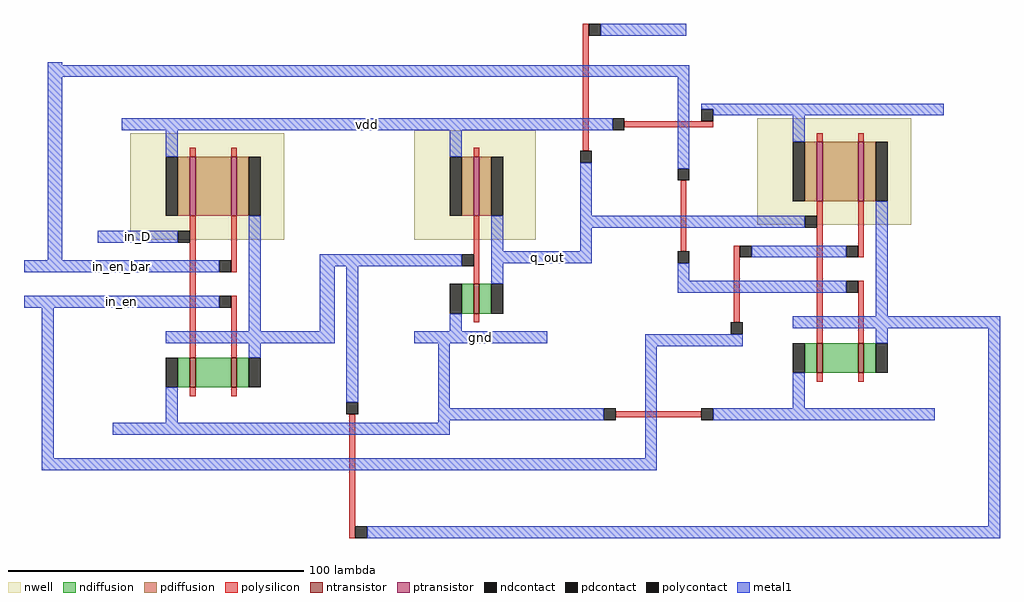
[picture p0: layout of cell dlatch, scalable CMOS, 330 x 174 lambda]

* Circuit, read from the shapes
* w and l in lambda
.subckt dlatch gnd in_D in_en in_en_bar q_out vdd
M1 n1 in_D gnd VSUBS nfet w=10 l=2
M2 n2 in_en n1 VSUBS nfet w=10 l=2
M3 q_out n2 gnd VSUBS nfet w=10 l=2
M4 n3 q_out gnd VSUBS nfet w=10 l=2
M5 n2 in_en_bar n3 VSUBS nfet w=10 l=2
M6 n4 in_D vdd n5 pfet w=20 l=2
M7 n2 in_en_bar n4 n5 pfet w=20 l=2
M8 q_out n2 vdd n6 pfet w=20 l=2
M9 n7 q_out vdd n8 pfet w=20 l=2
M10 n2 in_en n7 n8 pfet w=20 l=2
.ends

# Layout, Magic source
magic
tech scmos
<< nwell >>
rect -43 -14 9 22
rect 53 -14 94 23
rect 169 -9 221 27
<< ntransistor >>
rect 73 -39 75 -29
rect -23 -64 -21 -54
rect -9 -64 -7 -54
rect 189 -59 191 -49
rect 203 -59 205 -49
<< ptransistor >>
rect -23 -6 -21 14
rect -9 -6 -7 14
rect 73 -6 75 14
rect 189 -1 191 19
rect 203 -1 205 19
<< ndiffusion >>
rect 69 -39 73 -29
rect 75 -39 79 -29
rect -27 -64 -23 -54
rect -21 -64 -9 -54
rect -7 -64 -3 -54
rect 185 -59 189 -49
rect 191 -59 203 -49
rect 205 -59 209 -49
<< pdiffusion >>
rect -27 -6 -23 14
rect -21 -6 -9 14
rect -7 -6 -3 14
rect 69 -6 73 14
rect 75 -6 79 14
rect 185 -1 189 19
rect 191 -1 203 19
rect 205 -1 209 19
<< ndcontact >>
rect 65 -39 69 -29
rect 79 -39 83 -29
rect -31 -64 -27 -54
rect -3 -64 1 -54
rect 181 -59 185 -49
rect 209 -59 213 -49
<< pdcontact >>
rect -31 -6 -27 14
rect -3 -6 1 14
rect 65 -6 69 14
rect 79 -6 83 14
rect 181 -1 185 19
rect 209 -1 213 19
<< polysilicon >>
rect -23 14 -21 17
rect -9 14 -7 17
rect 73 14 75 17
rect 110 16 112 59
rect 124 24 154 26
rect 189 19 191 22
rect 203 19 205 22
rect -23 -54 -21 -6
rect -9 -25 -7 -6
rect 73 -29 75 -6
rect 143 -18 145 6
rect -9 -54 -7 -33
rect 73 -42 75 -39
rect 161 -42 163 -16
rect 189 -49 191 -1
rect 203 -20 205 -1
rect 203 -49 205 -28
rect 189 -62 191 -59
rect 203 -62 205 -59
rect -23 -67 -21 -64
rect -9 -67 -7 -64
rect 31 -115 33 -73
rect 121 -74 150 -72
<< polycontact >>
rect 112 55 116 59
rect 120 23 124 27
rect 150 26 154 30
rect 109 12 113 16
rect 142 6 146 10
rect -27 -15 -23 -11
rect -13 -25 -9 -21
rect 69 -23 73 -19
rect 185 -10 189 -6
rect 142 -22 146 -18
rect -13 -37 -9 -33
rect 163 -20 167 -16
rect 160 -46 164 -42
rect 199 -20 203 -16
rect 199 -32 203 -28
rect 30 -73 34 -69
rect 117 -75 121 -71
rect 150 -75 154 -71
rect 33 -115 37 -111
<< metal1 >>
rect 116 55 145 59
rect -71 45 -66 46
rect -71 41 146 45
rect -71 -21 -66 41
rect -46 23 120 27
rect -31 14 -27 23
rect 65 14 69 23
rect -54 -15 -27 -11
rect -79 -25 -13 -21
rect -79 -37 -13 -33
rect -73 -88 -69 -37
rect -3 -45 1 -6
rect 79 -18 83 -6
rect 109 -6 113 12
rect 142 10 146 41
rect 150 30 232 32
rect 154 28 232 30
rect 181 19 185 28
rect 109 -10 185 -6
rect 109 -18 113 -10
rect 21 -23 69 -19
rect 79 -22 113 -18
rect 167 -20 199 -16
rect 21 -45 26 -23
rect -31 -49 26 -45
rect -3 -54 1 -49
rect -31 -76 -27 -64
rect 30 -69 34 -23
rect 79 -29 83 -22
rect 142 -28 146 -22
rect 142 -32 199 -28
rect 65 -45 69 -39
rect 209 -40 213 -1
rect 53 -49 98 -45
rect 181 -44 251 -40
rect 61 -71 65 -49
rect 131 -50 164 -46
rect 209 -49 213 -44
rect 61 -75 117 -71
rect 61 -76 65 -75
rect -49 -80 65 -76
rect 131 -88 135 -50
rect 181 -71 185 -59
rect 154 -75 229 -71
rect -73 -92 135 -88
rect 247 -111 251 -44
rect 37 -115 251 -111
<< labels >>
rlabel metal1 -46 23 120 27 1 vdd
rlabel metal1 53 -49 98 -45 1 gnd
rlabel metal1 -54 -15 -27 -11 1 in_D
rlabel metal1 -79 -25 -13 -21 1 in_en_bar
rlabel metal1 -79 -37 -13 -33 1 in_en
rlabel metal1 83 -22 113 -18 1 q_out
<< end >>
